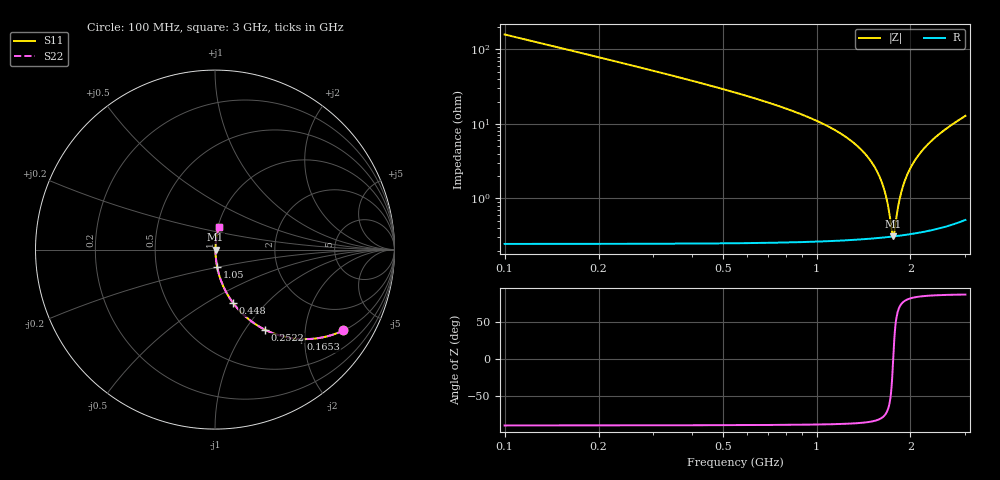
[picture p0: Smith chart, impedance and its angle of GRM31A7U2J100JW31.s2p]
!Murata Part Number: GRM31A7U2J100JW31
!These Parameters are Measured in Series Mode Connection
!Data Generated on Mar 30, 2021
!  o--ll--o
!Port1  Port2
!  o------o
!Operation Temp=25[degC], DC Bias Voltage=0[V]
!Freq. Start=100[MHz] Stop=3[GHz] 401[Steps]
# Hz S RI R 50
!Freq.(Hz) S11(Real) S11(Imag) S21(Real) S21(Imag) S12(Real) S12(Imag) S22(Real) S22(Imag)
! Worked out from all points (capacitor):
!   401 points, 100 MHz to 3 GHz, reference 50 ohm
!   read as one part in series: C = 9.99 pF near 114.5 MHz
!   lowest |Z| = 309 mohm at 1.76 GHz (marker M1)
!   series resonance near 1.761 GHz, so ESL is about 820 pH
!   S11 on the Smith chart (normalised r, x): 100 MHz: 1.00, -3.17; 165.2 MHz: 1.00, -1.91; 252.2 MHz: 1.00, -1.24; 448 MHz: 1.00, -0.67; 1.05 GHz: 1.01, -0.20; 3 GHz: 1.01, +0.26
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1e8  0.7154 -0.4504  0.2846 0.4504  0.2846 0.4504  0.7154 -0.4504
1.6525e8  0.4772 -0.4982  0.5228 0.4982  0.5228 0.4982  0.4772 -0.4982
2.5225e8  0.2777 -0.4459  0.7223 0.4459  0.7223 0.4459  0.2777 -0.4459
3.3925e8  0.1716 -0.3743  0.8284 0.3743  0.8284 0.3743  0.1716 -0.3743
4.48e8  0.102 -0.299  0.898 0.299  0.898 0.299  0.102 -0.299
5.8575e8  0.0581 -0.2288  0.9419 0.2288  0.9419 0.2288  0.0581 -0.2288
1.04975e9  0.0125 -0.0987  0.9875 0.0987  0.9875 0.0987  0.0125 -0.0987
1.0715e9  0.0117 -0.0947  0.9883 0.0947  0.9883 0.0947  0.0117 -0.0947
1.3615e9  0.00518 -0.0487  0.9948 0.0487  0.9948 0.0487  0.00518 -0.0487
1.55e9  0.00351 -0.0243  0.9965 0.0243  0.9965 0.0243  0.00351 -0.0243
1.65875e9  0.00313 -0.0115  0.9969 0.0115  0.9969 0.0115  0.00313 -0.0115
1.695e9  0.00308 -0.00732  0.9969 0.00732  0.9969 0.00732  0.00308 -0.00732
1.74575e9  0.00307 -0.00165  0.9969 0.00165  0.9969 0.00165  0.00307 -0.00165
1.76025e9  0.00308 -5.55e-05  0.9969 5.55e-05  0.9969 5.55e-05  0.00308 -5.55e-05
1.77475e9  0.0031 0.00153  0.9969 -0.00153  0.9969 -0.00153  0.0031 0.00153
1.83275e9  0.00321 0.0078  0.9968 -0.0078  0.9968 -0.0078  0.00321 0.0078
1.87625e9  0.00334 0.0124  0.9967 -0.0124  0.9967 -0.0124  0.00334 0.0124
1.94875e9  0.00366 0.02  0.9963 -0.02  0.9963 -0.02  0.00366 0.02
2.03575e9  0.00419 0.0289  0.9958 -0.0289  0.9958 -0.0289  0.00419 0.0289
2.23875e9  0.00603 0.0491  0.994 -0.0491  0.994 -0.0491  0.00603 0.0491
2.5215e9  0.00999 0.0768  0.99 -0.0768  0.99 -0.0768  0.00999 0.0768
3e9  0.021 0.1248  0.979 -0.1248  0.979 -0.1248  0.021 0.1248
